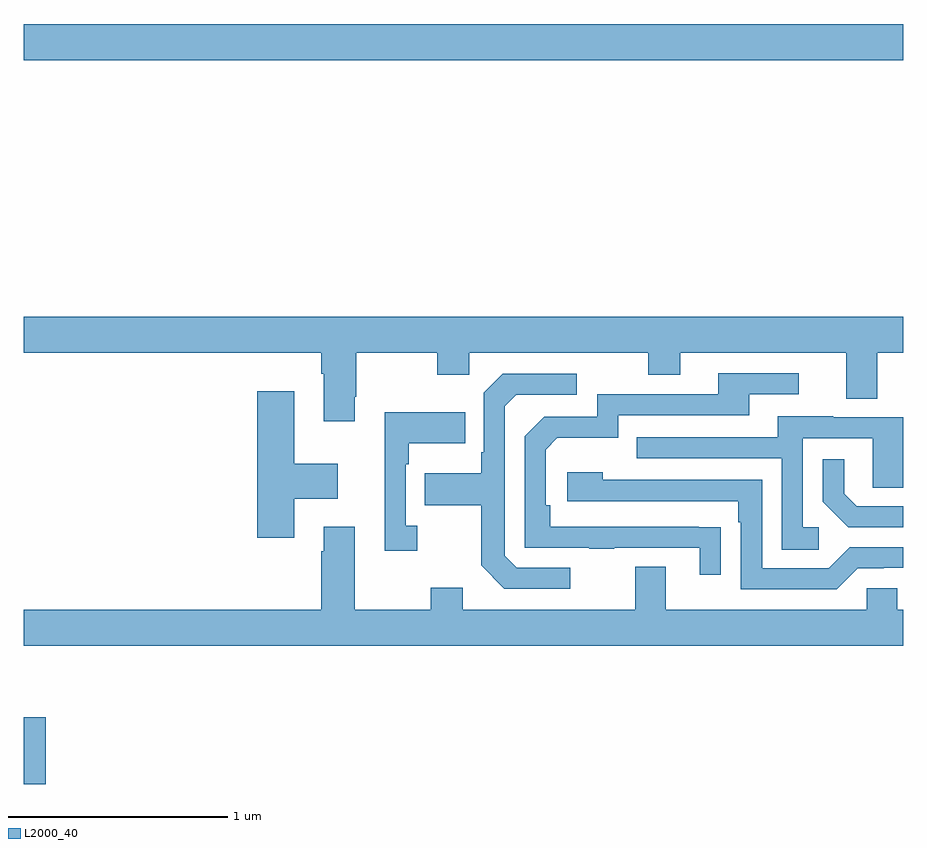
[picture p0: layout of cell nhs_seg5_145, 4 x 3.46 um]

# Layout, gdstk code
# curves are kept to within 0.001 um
import gdstk
lib = gdstk.Library(unit=1e-6, precision=1e-09)
def R(c, l, rs):  # rectangles x0, y0, x1, y1
    for r in rs: c.add(gdstk.rectangle(r[:2], r[2:], *l))
def P(c, l, *ps):  # polygons
    for p in ps: c.add(gdstk.Polygon(p, *l))
L2000_40 = (2000, 40)

nhs_seg5_145 = lib.new_cell('nhs_seg5_145')
R(nhs_seg5_145, L2000_40, [(119,854.799,119.099,855.103), (119,858.092,123,858.256)])
P(nhs_seg5_145, L2000_40, [(120.505,856.561),(120.513,856.561),(120.513,856.76),(120.88,856.76),(120.88,856.661),(121.026,856.661),(121.026,856.76),(121.84,856.76),(121.84,856.661),(121.987,856.661),(121.987,856.76),(122.741,856.76),(122.741,856.552),(122.881,856.552),(122.881,856.76),(123,856.76),(123,856.924),(119,856.924),(119,856.76),(120.353,856.76),(120.353,856.664),(120.365,856.664),(120.365,856.449),(120.505,856.449)],
  [(122.171,855.968),(121.394,855.969),(121.394,856.066),(121.374,856.066),(121.374,856.32),(121.427,856.373),(121.704,856.373),(121.704,856.476),(122.299,856.476),(122.299,856.572),(122.524,856.572),(122.524,856.668),(122.159,856.668),(122.159,856.572),(121.608,856.572),(121.608,856.47),(121.368,856.47),(121.278,856.38),(121.278,855.873),(121.573,855.873),(121.573,855.868),(121.685,855.868),(121.685,855.873),(122.075,855.873),(122.075,855.75),(122.171,855.75)],
  [(121.486,855.783),(121.242,855.783),(121.188,855.837),(121.188,856.518),(121.239,856.569),(121.516,856.569),(121.516,856.665),(121.179,856.665),(121.092,856.578),(121.092,856.309),(121.08,856.309),(121.08,856.213),(120.823,856.213),(120.823,856.066),(121.08,856.066),(121.08,855.793),(121.185,855.687),(121.486,855.687)],
  [(120.229,856.097),(120.427,856.097),(120.427,856.255),(120.229,856.255),(120.229,856.585),(120.062,856.585),(120.062,855.918),(120.229,855.918)],
  [(120.79,855.974),(120.738,855.974),(120.738,856.253),(120.751,856.253),(120.751,856.349),(121.007,856.349),(121.007,856.489),(120.641,856.489),(120.641,855.861),(120.79,855.861)],
  [(122.617,855.966),(122.544,855.966),(122.544,856.371),(122.862,856.371),(122.862,856.147),(123,856.147),(123,856.467),(122.683,856.467),(122.683,856.471),(122.429,856.471),(122.429,856.377),(121.789,856.377),(121.789,856.281),(122.448,856.281),(122.448,855.865),(122.617,855.865)],
  [(123,856.062),(122.788,856.062),(122.731,856.119),(122.731,856.276),(122.634,856.276),(122.634,856.082),(122.75,855.966),(123,855.966)],
  [(122.793,855.78),(122.912,855.78),(122.912,855.783),(123,855.783),(123,855.876),(122.757,855.876),(122.661,855.78),(122.358,855.78),(122.358,856.182),(121.634,856.182),(121.634,856.216),(121.473,856.216),(121.473,856.086),(122.249,856.086),(122.249,855.989),(122.262,855.989),(122.262,855.684),(122.697,855.684)],
  [(123,855.592),(122.973,855.592),(122.973,855.69),(122.835,855.69),(122.835,855.592),(121.921,855.592),(121.921,855.787),(121.781,855.787),(121.781,855.592),(120.997,855.592),(120.997,855.691),(120.85,855.691),(120.85,855.592),(120.505,855.592),(120.505,855.97),(120.365,855.97),(120.365,855.857),(120.353,855.857),(120.353,855.592),(119,855.592),(119,855.428),(123,855.428)])

lib.write_gds('nhs_seg5_145.gds')
